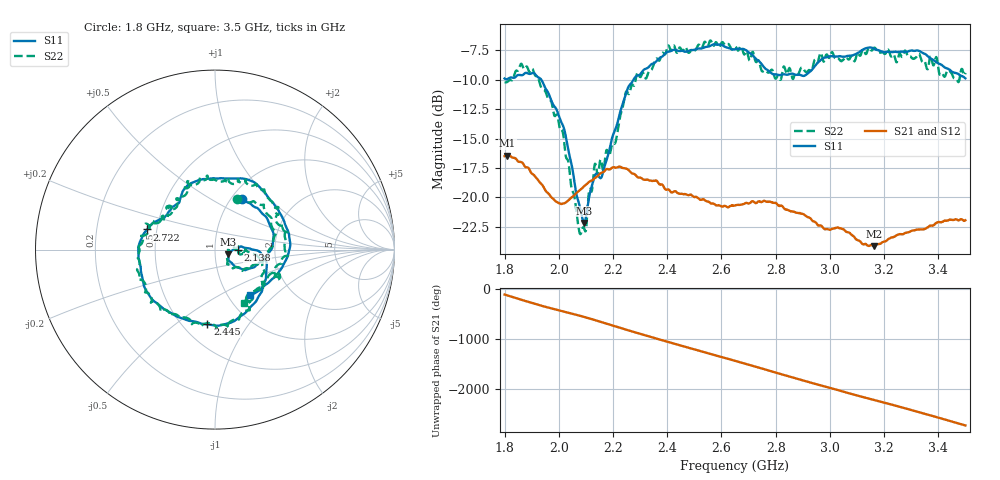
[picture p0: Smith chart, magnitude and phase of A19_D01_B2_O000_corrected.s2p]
! Created with skrf 1.9.0 (http://scikit-rf.org).
# Hz S RI R 50.0
!freq ReS11 ImS11 ReS21 ImS21 ReS12 ImS12 ReS22 ImS22
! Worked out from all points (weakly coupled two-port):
!   1601 points, 1.8 GHz to 3.5 GHz, reference 50 ohm
!   highest |S21| = -16.46 dB at 1.81 GHz (marker M1); lowest = -24.1 dB at 3.162 GHz (marker M2)
!   lowest |S11| = -22.2 dB at 2.093 GHz (marker M3), VSWR 1.17, Z = 57.9 - j3 ohm
!   |S11| at or under -10 dB: 1.935 GHz to 2.275 GHz (339.9 MHz wide, 16.1 % of centre)
!   |S22| runs from -23.1 to -6.7 dB; largest |S21 - S12| = 0.0029
!   S11 on the Smith chart (normalised r, x): 1.8 GHz: 1.12, +0.71; 2.138 GHz: 1.29, -0.00; 2.445 GHz: 0.65, -0.66; 2.722 GHz: 0.44, +0.12; 3.5 GHz: 1.26, -0.71
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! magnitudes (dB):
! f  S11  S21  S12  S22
! 1.8 GHz  -9.9  -16.5  -16.5  -10.2
! 1.81 GHz  -10.0  -16.5  -16.5  -10.2
! 1.901 GHz  -9.4  -18.0  -17.9  -9.0
! 1.969 GHz  -11.6  -19.9  -19.9  -11.8
! 2.02 GHz  -14.2  -20.5  -20.5  -15.4
! 2.084 GHz  -21.4  -19.3  -19.2  -22.9
! 2.093 GHz  -22.2  -19.0  -19.1  -22.6
! 2.138 GHz  -18.0  -18.3  -18.3  -17.4
! 2.16 GHz  -18.1  -17.9  -17.8  -17.4
! 2.208 GHz  -14.2  -17.5  -17.4  -15.4
! 2.258 GHz  -10.6  -17.7  -17.7  -11.2
! 2.367 GHz  -8.2  -18.8  -18.7  -8.3
! 2.445 GHz  -7.6  -19.7  -19.7  -7.3
! 2.65 GHz  -7.4  -20.7  -20.7  -7.2
! 2.722 GHz  -8.1  -20.4  -20.4  -8.2
! 2.81 GHz  -9.6  -20.7  -20.6  -9.7
! 2.934 GHz  -9.2  -21.9  -21.9  -9.2
! 3.162 GHz  -7.3  -24.1  -24.1  -7.3
! 3.217 GHz  -7.6  -23.5  -23.5  -7.5
! 3.328 GHz  -7.5  -22.7  -22.7  -7.8
! 3.415 GHz  -8.8  -22.1  -22.1  -9.5
! 3.5 GHz  -9.9  -21.9  -21.9  -9.4
